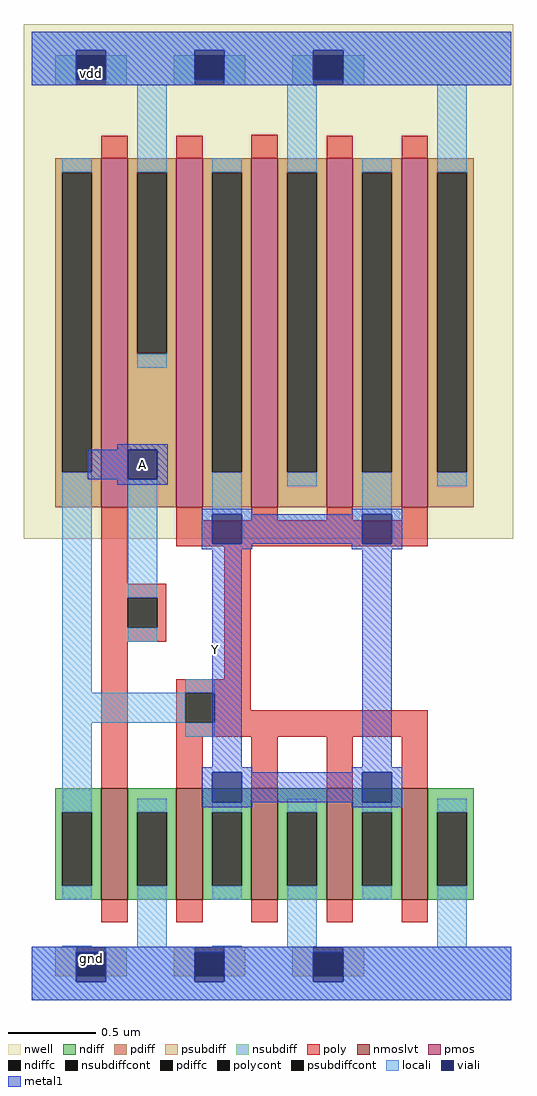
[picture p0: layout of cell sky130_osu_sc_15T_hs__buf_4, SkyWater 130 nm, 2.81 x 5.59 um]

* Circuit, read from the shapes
.subckt sky130_osu_sc_15T_hs__buf_4 A Y
XM1 gnd A n1 gnd sky130_fd_pr__nfet_01v8_lvt w=0.64 l=0.15
XM2 Y n1 gnd gnd sky130_fd_pr__nfet_01v8_lvt w=0.64 l=0.15 m=4
XM3 vdd A n1 vdd sky130_fd_pr__pfet_01v8 w=2 l=0.15
XM4 Y n1 vdd vdd sky130_fd_pr__pfet_01v8 w=2 l=0.15 m=4
.ends

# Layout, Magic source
magic
tech sky130A
magscale 1 2
<< nwell >>
rect -9 529 552 1119
<< nmoslvt >>
rect 80 115 110 243
rect 166 115 196 243
rect 252 115 282 243
rect 338 115 368 243
rect 424 115 454 243
<< pmos >>
rect 80 565 110 965
rect 166 565 196 965
rect 252 565 282 965
rect 338 565 368 965
rect 424 565 454 965
<< ndiff >>
rect 27 215 80 243
rect 27 131 35 215
rect 69 131 80 215
rect 27 115 80 131
rect 110 215 166 243
rect 110 131 121 215
rect 155 131 166 215
rect 110 115 166 131
rect 196 215 252 243
rect 196 131 207 215
rect 241 131 252 215
rect 196 115 252 131
rect 282 215 338 243
rect 282 131 293 215
rect 327 131 338 215
rect 282 115 338 131
rect 368 215 424 243
rect 368 131 379 215
rect 413 131 424 215
rect 368 115 424 131
rect 454 215 507 243
rect 454 131 465 215
rect 499 131 507 215
rect 454 115 507 131
<< pdiff >>
rect 27 949 80 965
rect 27 605 35 949
rect 69 605 80 949
rect 27 565 80 605
rect 110 949 166 965
rect 110 741 121 949
rect 155 741 166 949
rect 110 565 166 741
rect 196 949 252 965
rect 196 605 207 949
rect 241 605 252 949
rect 196 565 252 605
rect 282 949 338 965
rect 282 605 293 949
rect 327 605 338 949
rect 282 565 338 605
rect 368 949 424 965
rect 368 605 379 949
rect 413 605 424 949
rect 368 565 424 605
rect 454 949 507 965
rect 454 605 465 949
rect 499 605 507 949
rect 454 565 507 605
<< ndiffc >>
rect 35 131 69 215
rect 121 131 155 215
rect 207 131 241 215
rect 293 131 327 215
rect 379 131 413 215
rect 465 131 499 215
<< pdiffc >>
rect 35 605 69 949
rect 121 741 155 949
rect 207 605 241 949
rect 293 605 327 949
rect 379 605 413 949
rect 465 605 499 949
<< psubdiff >>
rect 27 27 51 61
rect 85 27 109 61
rect 163 27 187 61
rect 221 27 245 61
rect 299 27 323 61
rect 357 27 381 61
<< nsubdiff >>
rect 27 1049 51 1083
rect 85 1049 109 1083
rect 163 1049 187 1083
rect 221 1049 245 1083
rect 299 1049 323 1083
rect 357 1049 381 1083
<< psubdiffcont >>
rect 51 27 85 61
rect 187 27 221 61
rect 323 27 357 61
<< nsubdiffcont >>
rect 51 1049 85 1083
rect 187 1049 221 1083
rect 323 1049 357 1083
<< poly >>
rect 80 965 110 991
rect 166 965 196 991
rect 252 965 282 992
rect 338 965 368 991
rect 424 965 454 991
rect 80 477 110 565
rect 166 550 196 565
rect 252 550 282 565
rect 338 550 368 565
rect 424 550 454 565
rect 166 520 454 550
rect 80 461 154 477
rect 80 427 110 461
rect 144 427 154 461
rect 80 411 154 427
rect 80 243 110 411
rect 221 368 251 520
rect 166 352 251 368
rect 166 318 176 352
rect 210 332 251 352
rect 210 318 454 332
rect 166 302 454 318
rect 166 243 196 302
rect 252 243 282 302
rect 338 243 368 302
rect 424 243 454 302
rect 80 89 110 115
rect 166 89 196 115
rect 252 89 282 115
rect 338 89 368 115
rect 424 89 454 115
<< polycont >>
rect 110 427 144 461
rect 176 318 210 352
<< locali >>
rect 0 1089 550 1110
rect 0 1049 51 1089
rect 85 1049 187 1089
rect 221 1049 323 1089
rect 357 1049 550 1089
rect 35 949 69 965
rect 121 949 155 1049
rect 121 725 155 741
rect 207 949 241 965
rect 35 352 69 605
rect 110 461 144 597
rect 207 557 241 605
rect 293 949 327 1049
rect 293 589 327 605
rect 379 949 413 965
rect 379 557 413 605
rect 465 949 499 1049
rect 465 589 499 605
rect 110 411 144 427
rect 176 352 210 368
rect 35 318 176 352
rect 35 215 69 318
rect 176 302 210 318
rect 35 115 69 131
rect 121 215 155 231
rect 35 61 69 62
rect 121 61 155 131
rect 207 215 241 227
rect 207 115 241 131
rect 293 215 327 231
rect 207 61 241 62
rect 293 61 327 131
rect 379 215 413 227
rect 379 115 413 131
rect 465 215 499 231
rect 465 61 499 131
rect 0 21 51 61
rect 85 21 187 61
rect 221 21 323 61
rect 357 21 550 61
rect 0 0 550 21
<< viali >>
rect 51 1083 85 1089
rect 51 1055 85 1083
rect 187 1083 221 1089
rect 187 1055 221 1083
rect 323 1083 357 1089
rect 323 1055 357 1083
rect 110 597 144 631
rect 207 523 241 557
rect 379 523 413 557
rect 207 227 241 261
rect 379 227 413 261
rect 51 27 85 55
rect 51 21 85 27
rect 187 27 221 55
rect 187 21 221 27
rect 323 27 357 55
rect 323 21 357 27
<< metal1 >>
rect 0 1089 550 1110
rect 0 1055 51 1089
rect 85 1055 187 1089
rect 221 1055 323 1089
rect 357 1055 550 1089
rect 0 1049 550 1055
rect 98 631 156 637
rect 64 597 110 631
rect 144 597 156 631
rect 98 591 156 597
rect 195 557 253 563
rect 367 557 425 563
rect 195 523 207 557
rect 241 523 379 557
rect 413 523 425 557
rect 195 517 253 523
rect 367 517 425 523
rect 207 267 241 517
rect 379 267 413 517
rect 195 261 253 267
rect 367 261 425 267
rect 195 227 207 261
rect 241 227 379 261
rect 413 227 425 261
rect 195 221 253 227
rect 367 221 425 227
rect 0 55 550 61
rect 0 21 51 55
rect 85 21 187 55
rect 221 21 323 55
rect 357 21 550 55
rect 0 0 550 21
<< labels >>
rlabel viali 127 614 127 614 1 A
port 1 n
rlabel metal1 211 402 211 402 1 Y
port 2 n
rlabel viali 68 48 68 48 1 gnd
rlabel viali 68 1062 68 1062 1 vdd
<< end >>
